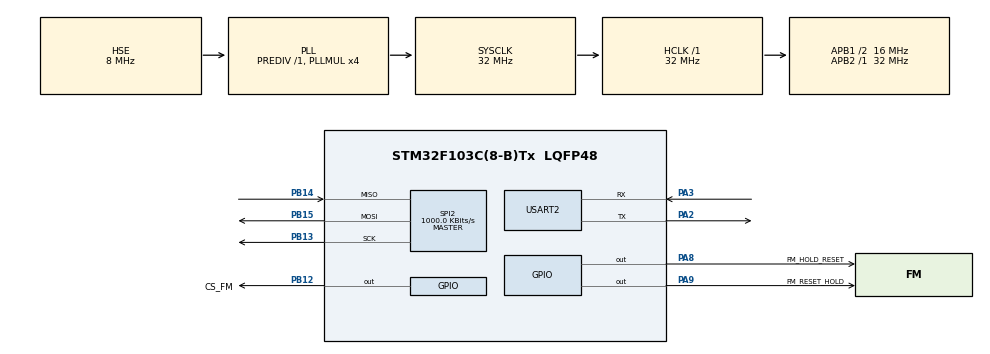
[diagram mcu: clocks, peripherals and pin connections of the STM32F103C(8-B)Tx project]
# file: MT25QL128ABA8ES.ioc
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Mcu.Family=STM32F1
Mcu.Name=STM32F103C(8-B)Tx
Mcu.Package=LQFP48
NVIC.PriorityGroup=NVIC_PRIORITYGROUP_4
PA13.Mode=Serial_Wire
PA13.Signal=SYS_JTMS-SWDIO
PA14.Mode=Serial_Wire
PA14.Signal=SYS_JTCK-SWCLK
PA2.Mode=Asynchronous
PA2.Signal=USART2_TX
PA3.Mode=Asynchronous
PA3.Signal=USART2_RX
PA8.GPIO_Label=FM_HOLD_RESET
PA8.GPIO_PuPd=GPIO_PULLUP
PA8.Signal=GPIO_Output
PA9.GPIO_Label=FM_RESET_HOLD
PA9.GPIO_PuPd=GPIO_PULLUP
PA9.Signal=GPIO_Output
PB12.GPIO_Label=CS_FM
PB12.GPIO_PuPd=GPIO_PULLUP
PB12.Signal=GPIO_Output
PB13.Mode=Full_Duplex_Master
PB13.Signal=SPI2_SCK
PB14.Mode=Full_Duplex_Master
PB14.Signal=SPI2_MISO
PB15.Mode=Full_Duplex_Master
PB15.Signal=SPI2_MOSI
PD0-OSC_IN.Mode=HSE-External-Oscillator
PD0-OSC_IN.Signal=RCC_OSC_IN
PD1-OSC_OUT.Mode=HSE-External-Oscillator
PD1-OSC_OUT.Signal=RCC_OSC_OUT
ProjectManager.HeapSize=0x200
ProjectManager.StackSize=0x400
ProjectManager.TargetToolchain=STM32CubeIDE
RCC.AHBFreq_Value=32000000
RCC.APB1CLKDivider=RCC_HCLK_DIV2
RCC.APB1Freq_Value=16000000
RCC.APB1TimFreq_Value=32000000
RCC.APB2Freq_Value=32000000
RCC.APB2TimFreq_Value=32000000
RCC.HCLKFreq_Value=32000000
RCC.PLLMUL=RCC_PLL_MUL4
RCC.PLLSourceVirtual=RCC_PLLSOURCE_HSE
RCC.SYSCLKFreq_VALUE=32000000
RCC.SYSCLKSource=RCC_SYSCLKSOURCE_PLLCLK
RCC.USBFreq_Value=32000000
SPI2.BaudRatePrescaler=SPI_BAUDRATEPRESCALER_16
SPI2.CalculateBaudRate=1000.0 KBits/s
SPI2.Direction=SPI_DIRECTION_2LINES
SPI2.Mode=SPI_MODE_MASTER
SPI2.VirtualType=VM_MASTER
USART2.VirtualMode=VM_ASYNC
board=custom

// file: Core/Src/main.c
/* USER CODE BEGIN Header */
/**
 ******************************************************************************
 * @file           : main.c
 * @brief          : Main program body
 ******************************************************************************
 * @attention
 *
 * <h2><center>&copy; Copyright (c) 2024 STMicroelectronics.
 * All rights reserved.</center></h2>
 *
 * This software component is licensed by ST under BSD 3-Clause license,
 * the "License"; You may not use this file except in compliance with the
 * License. You may obtain a copy of the License at:
 *                        opensource.org/licenses/BSD-3-Clause
 *
 ******************************************************************************
 */
/* USER CODE END Header */
#include "main.h"

/* USER CODE BEGIN Includes */
#include "MT25QL128ABA8ESF.h"
/* USER CODE END Includes */

/* USER CODE BEGIN PD */
#define START 0x00
#define sector_size 32
/* USER CODE END PD */

SPI_HandleTypeDef hspi2;

UART_HandleTypeDef huart2;

/* USER CODE BEGIN PV */
char write_data[] = "my name is Prem Bahadur Rana";
char read_data[50];
DEVICE_ID dev_id;

uint8_t status_reg = 0;

uint8_t READ_FLAG = 0;
/* USER CODE END PV */

void SystemClock_Config(void);
static void MX_GPIO_Init(void);
static void MX_SPI2_Init(void);
static void MX_USART2_UART_Init(void);

int main(void) {

	/* MCU Configuration--------------------------------------------------------*/

	/* Reset of all peripherals, Initializes the Flash interface and the Systick. */
	HAL_Init();

	/* Configure the system clock */
	SystemClock_Config();

	/* Initialize all configured peripherals */
	MX_GPIO_Init();
	MX_SPI2_Init();
	MX_USART2_UART_Init();
	/* USER CODE BEGIN 2 */
//	HAL_GPIO_WritePin(GPIOA, GPIO_PIN_8, GPIO_PIN_SET);
//	HAL_Delay(100);
//	HAL_GPIO_WritePin(GPIOA, GPIO_PIN_9,SET);
//	HAL_Delay(100);

	Read_ID(&hspi2, &dev_id);

	HAL_Delay(1000);

	status_reg = Status_Reg(&hspi2);

	HAL_Delay(1000);
	//Erase
	Sector_Erase_4B(&hspi2, START, sector_size);
	//Write
	Page_Write_4B(&hspi2, START, write_data, sizeof(write_data));
	//Read
	Bulk_Read_4B(&hspi2, START, read_data, sizeof(read_data));

	/* USER CODE END 2 */

	/* Infinite loop */
	while (1) {

		/* USER CODE BEGIN 3 */
		while (READ_FLAG == 0) {
			Read_ID(&hspi2, &dev_id);
			HAL_Delay(5000);
			if (dev_id.MAN_ID == 0x20) {
				READ_FLAG = 1;
			}
		}

	}
	/* USER CODE END 3 */
}

void SystemClock_Config(void) {
	RCC_OscInitTypeDef RCC_OscInitStruct = { 0 };
	RCC_ClkInitTypeDef RCC_ClkInitStruct = { 0 };

	/** Initializes the RCC Oscillators according to the specified parameters
	 * in the RCC_OscInitTypeDef structure.
	 */
	RCC_OscInitStruct.OscillatorType = RCC_OSCILLATORTYPE_HSE;
	RCC_OscInitStruct.HSEState = RCC_HSE_ON;
	RCC_OscInitStruct.HSEPredivValue = RCC_HSE_PREDIV_DIV1;
	RCC_OscInitStruct.HSIState = RCC_HSI_ON;
	RCC_OscInitStruct.PLL.PLLState = RCC_PLL_ON;
	RCC_OscInitStruct.PLL.PLLSource = RCC_PLLSOURCE_HSE;
	RCC_OscInitStruct.PLL.PLLMUL = RCC_PLL_MUL4;
	if (HAL_RCC_OscConfig(&RCC_OscInitStruct) != HAL_OK) {
		Error_Handler();
	}
	/** Initializes the CPU, AHB and APB buses clocks
	 */
	RCC_ClkInitStruct.ClockType = RCC_CLOCKTYPE_HCLK | RCC_CLOCKTYPE_SYSCLK
			| RCC_CLOCKTYPE_PCLK1 | RCC_CLOCKTYPE_PCLK2;
	RCC_ClkInitStruct.SYSCLKSource = RCC_SYSCLKSOURCE_PLLCLK;
	RCC_ClkInitStruct.AHBCLKDivider = RCC_SYSCLK_DIV1;
	RCC_ClkInitStruct.APB1CLKDivider = RCC_HCLK_DIV2;
	RCC_ClkInitStruct.APB2CLKDivider = RCC_HCLK_DIV1;

	if (HAL_RCC_ClockConfig(&RCC_ClkInitStruct, FLASH_LATENCY_1) != HAL_OK) {
		Error_Handler();
	}
}

static void MX_SPI2_Init(void) {

	/* SPI2 parameter configuration*/
	hspi2.Instance = SPI2;
	hspi2.Init.Mode = SPI_MODE_MASTER;
	hspi2.Init.Direction = SPI_DIRECTION_2LINES;
	hspi2.Init.DataSize = SPI_DATASIZE_8BIT;
	hspi2.Init.CLKPolarity = SPI_POLARITY_LOW;
	hspi2.Init.CLKPhase = SPI_PHASE_1EDGE;
	hspi2.Init.NSS = SPI_NSS_SOFT;
	hspi2.Init.BaudRatePrescaler = SPI_BAUDRATEPRESCALER_16;
	hspi2.Init.FirstBit = SPI_FIRSTBIT_MSB;
	hspi2.Init.TIMode = SPI_TIMODE_DISABLE;
	hspi2.Init.CRCCalculation = SPI_CRCCALCULATION_DISABLE;
	hspi2.Init.CRCPolynomial = 10;
	if (HAL_SPI_Init(&hspi2) != HAL_OK) {
		Error_Handler();
	}

}

static void MX_USART2_UART_Init(void) {

	huart2.Instance = USART2;
	huart2.Init.BaudRate = 115200;
	huart2.Init.WordLength = UART_WORDLENGTH_8B;
	huart2.Init.StopBits = UART_STOPBITS_1;
	huart2.Init.Parity = UART_PARITY_NONE;
	huart2.Init.Mode = UART_MODE_TX_RX;
	huart2.Init.HwFlowCtl = UART_HWCONTROL_NONE;
	huart2.Init.OverSampling = UART_OVERSAMPLING_16;
	if (HAL_UART_Init(&huart2) != HAL_OK) {
		Error_Handler();
	}

}

static void MX_GPIO_Init(void) {
	GPIO_InitTypeDef GPIO_InitStruct = { 0 };

	/* GPIO Ports Clock Enable */
	__HAL_RCC_GPIOD_CLK_ENABLE();
	__HAL_RCC_GPIOA_CLK_ENABLE();
	__HAL_RCC_GPIOB_CLK_ENABLE();

	/*Configure GPIO pin Output Level */
	HAL_GPIO_WritePin(CS_FM_GPIO_Port, CS_FM_Pin, GPIO_PIN_RESET);

	/*Configure GPIO pin Output Level */
	HAL_GPIO_WritePin(GPIOA, FM_HOLD_RESET_Pin | FM_RESET_HOLD_Pin,
			GPIO_PIN_RESET);

	/*Configure GPIO pin : CS_FM_Pin */
	GPIO_InitStruct.Pin = CS_FM_Pin;
	GPIO_InitStruct.Mode = GPIO_MODE_OUTPUT_PP;
	GPIO_InitStruct.Pull = GPIO_PULLUP;
	GPIO_InitStruct.Speed = GPIO_SPEED_FREQ_LOW;
	HAL_GPIO_Init(CS_FM_GPIO_Port, &GPIO_InitStruct);

	/*Configure GPIO pins : FM_HOLD_RESET_Pin FM_RESET_HOLD_Pin */
	GPIO_InitStruct.Pin = FM_HOLD_RESET_Pin | FM_RESET_HOLD_Pin;
	GPIO_InitStruct.Mode = GPIO_MODE_OUTPUT_PP;
	GPIO_InitStruct.Pull = GPIO_PULLUP;
	GPIO_InitStruct.Speed = GPIO_SPEED_FREQ_LOW;
	HAL_GPIO_Init(GPIOA, &GPIO_InitStruct);

}

void Error_Handler(void) {
	__disable_irq();
	while (1) {
	}
}

/************************ (C) COPYRIGHT STMicroelectronics *****END OF FILE****/
